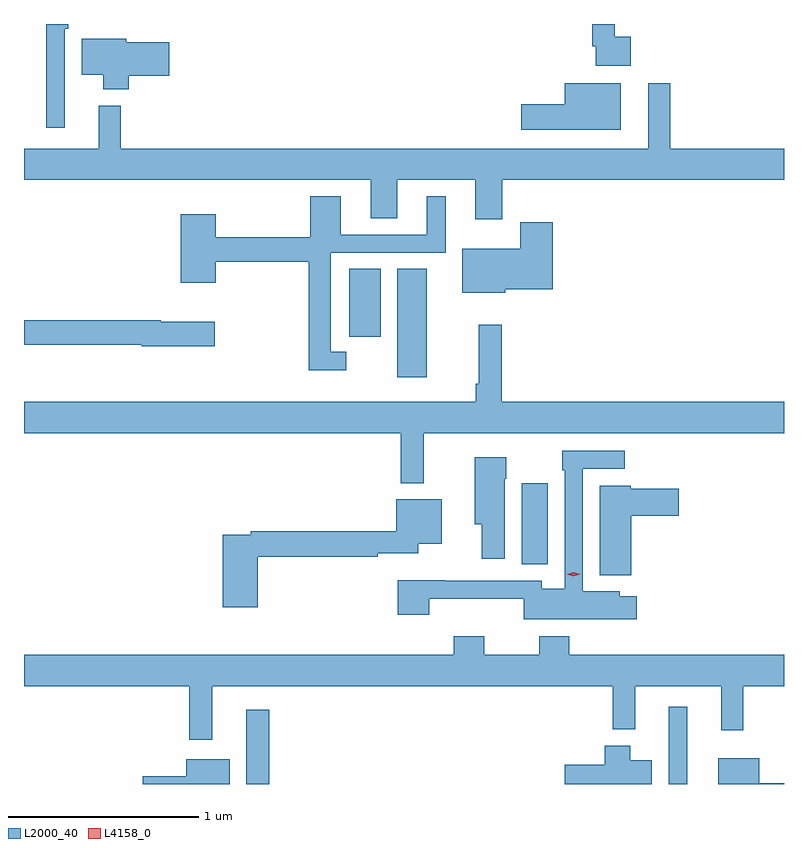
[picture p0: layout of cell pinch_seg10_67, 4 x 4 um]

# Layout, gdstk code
import gdstk
lib = gdstk.Library(unit=1e-6, precision=1e-09)
def R(c, l, rs):  # rectangles x0, y0, x1, y1
    for r in rs: c.add(gdstk.rectangle(r[:2], r[2:], *l))
def P(c, l, *ps):  # polygons
    for p in ps: c.add(gdstk.Polygon(p, *l))
L2000_40 = (2000, 40)
L4158_0 = (4158, 0)

pinch_seg10_67 = lib.new_cell('pinch_seg10_67')
R(pinch_seg10_67, L2000_40, [(832.565,1325.109,832.687,1325.5), (834.789,1325.109,834.886,1325.515), (834.014,1326.265,834.151,1326.691), (833.36,1327.251,833.515,1327.82), (833.108,1327.464,833.272,1327.82)])
P(pinch_seg10_67, L2000_40, [(831.609,1329.083),(831.629,1329.083),(831.629,1329.109),(831.512,1329.109),(831.512,1328.562),(831.609,1328.562)],
  [(834.589,1329.041),(834.503,1329.041),(834.503,1329.109),(834.385,1329.109),(834.385,1328.992),(834.405,1328.992),(834.405,1328.888),(834.589,1328.888)],
  [(831.947,1328.836),(832.159,1328.836),(832.159,1329.014),(831.934,1329.014),(831.934,1329.031),(831.698,1329.031),(831.698,1328.843),(831.812,1328.843),(831.812,1328.765),(831.947,1328.765)],
  [(834.535,1328.797),(834.242,1328.797),(834.242,1328.687),(834.012,1328.687),(834.012,1328.552),(834.535,1328.552)],
  [(834.68,1328.797),(834.68,1328.452),(831.905,1328.452),(831.905,1328.68),(831.788,1328.68),(831.788,1328.452),(831.395,1328.452),(831.395,1328.288),(833.219,1328.288),(833.219,1328.086),(833.359,1328.086),(833.359,1328.288),(833.771,1328.288),(833.771,1328.082),(833.911,1328.082),(833.911,1328.288),(835.395,1328.288),(835.395,1328.452),(834.797,1328.452),(834.797,1328.797)],
  [(833.092,1327.383),(833.01,1327.383),(833.01,1327.905),(833.614,1327.905),(833.614,1328.203),(833.516,1328.203),(833.516,1328.001),(833.062,1328.001),(833.062,1328.203),(832.901,1328.203),(832.901,1327.987),(832.403,1327.987),(832.403,1328.107),(832.22,1328.107),(832.22,1327.746),(832.403,1327.746),(832.403,1327.858),(832.894,1327.858),(832.894,1327.286),(833.092,1327.286)],
  [(833.928,1327.712),(834.179,1327.712),(834.179,1328.065),(834.008,1328.065),(834.008,1327.927),(833.702,1327.927),(833.702,1327.694),(833.928,1327.694)],
  [(832.399,1327.543),(832.114,1327.543),(832.114,1327.55),(831.395,1327.55),(831.395,1327.422),(832.014,1327.422),(832.014,1327.414),(832.399,1327.414)],
  [(831.395,1326.956),(833.377,1326.956),(833.377,1326.693),(833.498,1326.693),(833.498,1326.956),(835.395,1326.956),(835.395,1327.12),(833.909,1327.12),(833.909,1327.525),(833.788,1327.525),(833.788,1327.216),(833.773,1327.216),(833.773,1327.12),(831.395,1327.12)],
  [(834.619,1326.097),(834.531,1326.097),(834.531,1326.124),(834.336,1326.124),(834.336,1326.768),(834.556,1326.768),(834.556,1326.864),(834.228,1326.864),(834.228,1326.761),(834.24,1326.761),(834.24,1326.136),(834.12,1326.136),(834.12,1326.18),(833.611,1326.18),(833.611,1326.181),(833.363,1326.181),(833.363,1326),(833.528,1326),(833.528,1326.083),(834.024,1326.083),(834.024,1325.975),(834.619,1325.975)],
  [(833.926,1326.716),(833.934,1326.716),(833.934,1326.829),(833.768,1326.829),(833.768,1326.476),(833.804,1326.476),(833.804,1326.294),(833.926,1326.294)],
  [(834.592,1326.521),(834.841,1326.521),(834.841,1326.663),(834.588,1326.663),(834.588,1326.679),(834.425,1326.679),(834.425,1326.209),(834.592,1326.209)],
  [(832.625,1326.304),(833.258,1326.304),(833.258,1326.323),(833.47,1326.323),(833.47,1326.374),(833.593,1326.374),(833.593,1326.607),(833.354,1326.607),(833.354,1326.44),(832.588,1326.44),(832.588,1326.42),(832.442,1326.42),(832.442,1326.039),(832.625,1326.039)],
  [(832.387,1325.624),(834.493,1325.624),(834.493,1325.396),(834.611,1325.396),(834.611,1325.624),(835.064,1325.624),(835.064,1325.391),(835.181,1325.391),(835.181,1325.624),(835.395,1325.624),(835.395,1325.788),(834.266,1325.788),(834.266,1325.887),(834.106,1325.887),(834.106,1325.788),(833.817,1325.788),(833.817,1325.887),(833.657,1325.887),(833.657,1325.788),(831.395,1325.788),(831.395,1325.624),(832.266,1325.624),(832.266,1325.343),(832.387,1325.343)],
  [(834.7,1325.233),(834.586,1325.233),(834.586,1325.311),(834.452,1325.311),(834.452,1325.211),(834.24,1325.211),(834.24,1325.109),(834.7,1325.109)],
  [(835.395,1325.114),(835.264,1325.114),(835.264,1325.245),(835.049,1325.245),(835.049,1325.109),(835.395,1325.109)],
  [(832.477,1325.239),(832.25,1325.239),(832.25,1325.151),(832.02,1325.151),(832.02,1325.109),(832.477,1325.109)])
P(pinch_seg10_67, L4158_0, [(834.287,1326.203),(834.253,1326.214),(834.252,1326.214),(834.253,1326.214),(834.288,1326.223),(834.322,1326.212),(834.323,1326.212),(834.322,1326.212)])

lib.write_gds('pinch_seg10_67.gds')
